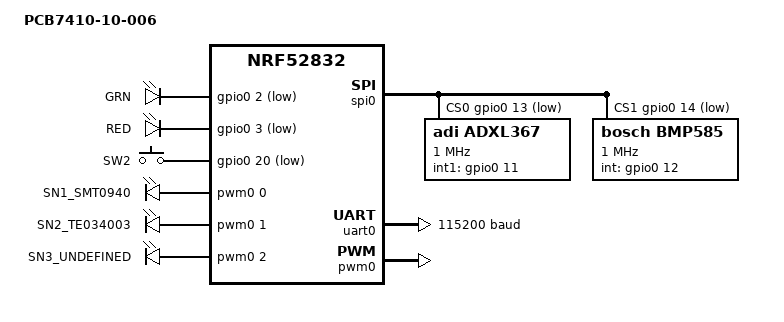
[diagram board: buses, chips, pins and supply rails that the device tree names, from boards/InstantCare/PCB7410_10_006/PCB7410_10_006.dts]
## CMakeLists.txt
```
# SPDX-License-Identifier: Apache-2.0

cmake_minimum_required(VERSION 3.20.0)

list(APPEND ZEPHYR_EXTRA_MODULES
  ${CMAKE_CURRENT_SOURCE_DIR}/drivers
)

find_package(Zephyr REQUIRED HINTS $ENV{ZEPHYR_BASE})
project(7410-10)

target_sources(app PRIVATE
    src/main.c
    src/leds.c
    src/button.c
    src/sounders.c
    src/pressure_sensor.c
    src/accelerometer.c
)

zephyr_library_include_directories(.)
```

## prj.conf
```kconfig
CONFIG_STDOUT_CONSOLE=y
CONFIG_PRINTK=y
CONFIG_LOG=y
CONFIG_LOG_MODE_IMMEDIATE=y
CONFIG_LOG_DEFAULT_LEVEL=3

# Enable Floating Point values
CONFIG_CBPRINTF_FP_SUPPORT=y

# Peripheral Support
CONFIG_SPI=y
CONFIG_SENSOR=y
CONFIG_ADXL367=y
CONFIG_ADXL367_TRIGGER_OWN_THREAD=y
CONFIG_BMP585=y
CONFIG_BMP585_TRIGGER=y

# Free Fall via Inactivity Detection
CONFIG_ADXL367_INACTIVITY_DETECTION_MODE=y
CONFIG_ADXL367_REFERENCED_INACTIVITY_DETECTION_MODE=n
# Time is relative to ODR; with ODR=100Hz, time=10 means 100ms
CONFIG_ADXL367_INACTIVITY_TIME=1
CONFIG_ADXL367_ACTIVITY_DETECTION_MODE=n

# Increase stack size for the main thread and System Workqueue
CONFIG_SYSTEM_WORKQUEUE_STACK_SIZE=2048
CONFIG_MAIN_STACK_SIZE=2048

# Used for debugging SPI issues only
# CONFIG_SPI_LOG_LEVEL_DBG=y

# Enable the Shell subsystem
CONFIG_SHELL=y
CONFIG_SHELL_LOG_BACKEND=y

# Enable UART backend for the shell
CONFIG_SHELL_BACKEND_SERIAL=y

# Optional: Set shell buffer sizes and history
CONFIG_SHELL_CMD_BUFF_SIZE=128
CONFIG_SHELL_HISTORY=y
```

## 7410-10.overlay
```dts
#include <nordic/nrf52840_qiaa.dtsi>

/ {
    chosen {
        zephyr,console = &uart0;
        zephyr,shell-uart = &uart0;
    };

    aliases {
        /* Sounders */
        buzzer0 = &SN1;
        buzzer1 = &SN2;
        buzzer2 = &SN3;

        /* SPI devices */
        spi0 = &spi0;
        accel0 = &adxl367;
        press0 = &bmp585;
    };

    sounders {
        compatible = "gpio-leds";

        SN1: SN1 {
            gpios = <&gpio0 4 GPIO_ACTIVE_HIGH>;
            label = "SN1";
        };

        SN2: SN2 {
            gpios = <&gpio0 5 GPIO_ACTIVE_HIGH>;
            label = "SN2";
        };

        SN3: SN3 {
            gpios = <&gpio0 6 0>;
            label = "SN3";
        };
    };
};

/* GPIO */
&gpio0 {
    status = "okay";
};

&gpiote {
    status = "okay";
};

/* SPI0 + devices */
&spi0 {
    status = "okay";
    pinctrl-0 = <&spi0_default>;
    pinctrl-1 = <&spi0_sleep>;
    pinctrl-names = "default", "sleep";
    cs-gpios = <&gpio0 20 GPIO_ACTIVE_LOW>, <&gpio0 21 GPIO_ACTIVE_LOW>;

    adxl367: adxl367@0 {
        compatible = "adi,adxl367";
        reg = <0>;
        spi-max-frequency = <1000000>;
        int1-gpios = <&gpio0 8 GPIO_ACTIVE_LOW>;
        label = "ADXL367";
    };

    bmp585: bmp585@1 {
        compatible = "bosch,bmp585";
        reg = <1>;
        spi-max-frequency = <1000000>;
        int-gpios = <&gpio0 7 GPIO_ACTIVE_LOW>;
        label = "BMP585";
    };
};

&spi0_default {
    group1 {
        psels = <NRF_PSEL(SPIM_SCK, 0, 17)>,
                <NRF_PSEL(SPIM_MOSI, 0, 18)>,
                <NRF_PSEL(SPIM_MISO, 0, 19)>;
    };
};
```

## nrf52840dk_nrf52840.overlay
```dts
#include <nordic/nrf52840_qiaa.dtsi>

/ {
    chosen {
        zephyr,console = &uart0;
        zephyr,shell-uart = &uart0;
    };

    aliases {
        /* Sounders */
        buzzer0 = &SN1;
        buzzer1 = &SN2;
        buzzer2 = &SN3;

        /* SPI devices */
        spi1 = &spi1;
        accel0 = &adxl367;
        press0 = &bmp585;
    };

    sounders {
        compatible = "gpio-leds";

        SN1: SN1 {
            gpios = <&gpio0 2 0>;
            label = "SN1";
        };

        SN2: SN2 {
            gpios = <&gpio0 3 0>;
            label = "SN2";
        };

        SN3: SN3 {
            gpios = <&gpio0 4 0>;
            label = "SN3";
        };
    };
};

/* GPIO */
&gpio0 {
    status = "okay";
};

&gpiote {
    status = "okay";
};

/* SPI1 + devices */
&spi1 {
    status = "okay";
    pinctrl-0 = <&spi1_default>;
    pinctrl-1 = <&spi1_sleep>;
    pinctrl-names = "default", "sleep";
    cs-gpios = <&gpio0 29 GPIO_ACTIVE_LOW>, <&gpio0 30 GPIO_ACTIVE_LOW>;

    adxl367: adxl367@0 {
        compatible = "adi,adxl367";
        reg = <0>;
        spi-max-frequency = <DT_FREQ_M(2)>;
        label = "ADXL367";
    };

    bmp585: bmp585@1 {
        compatible = "bosch,bmp585";
        reg = <1>;
        spi-max-frequency = <DT_FREQ_M(2)>;
        label = "BMP585";
    };

    max-frequency = <DT_FREQ_M(4)>;
};

&spi1_default {
    group1 {
        psels = <NRF_PSEL(SPIM_MOSI, 0, 27)>,
										<NRF_PSEL(SPIM_MISO, 0, 28)>;
    };

	group2 {
		psels = <NRF_PSEL(SPIM_SCK, 0, 26)>;
		bias-pull-down;
	};
};

&spi1_sleep {
    group1 {
        psels = <NRF_PSEL(SPIM_SCK, 0, 26)>,
                <NRF_PSEL(SPIM_MOSI, 0, 27)>,
                <NRF_PSEL(SPIM_MISO, 0, 28)>;
    };
};


&uart0 {
    status = "okay";
};
```

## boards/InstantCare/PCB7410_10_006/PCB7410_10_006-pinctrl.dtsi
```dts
&pinctrl {
    spi0_default: spi0_default {
        group1 {
            psels = <NRF_PSEL(SPIM_MISO, 0, 17)>,
                    <NRF_PSEL(SPIM_MOSI, 0, 16)>,
                    <NRF_PSEL(SPIM_SCK, 0, 15)>;
        };
    };

    spi0_sleep: spi0_sleep {
        group1 {
            psels = <NRF_PSEL(SPIM_MISO, 0, 17)>,
                    <NRF_PSEL(SPIM_MOSI, 0, 16)>,
                    <NRF_PSEL(SPIM_SCK, 0, 15)>;
            low-power-enable;
        };
    };

    uart0_default: uart0_default {
        group1 {
            psels = <NRF_PSEL(UART_TX, 0, 26)>, <NRF_PSEL(UART_RX, 0, 27)>;
        };
    };

    uart0_sleep: uart0_sleep {
        group1 {
            psels = <NRF_PSEL(UART_TX, 0, 26)>;
        };
    };

    pwm0_default: pwm0_default {
        group1 {
            psels = <NRF_PSEL(PWM_OUT0, 0, 4)>,
                    <NRF_PSEL(PWM_OUT1, 0, 5)>,
                    <NRF_PSEL(PWM_OUT2, 0, 19)>; 
            nordic,invert;
        };
    };

    pwm0_sleep: pwm0_sleep {
        group1 {
            psels = <NRF_PSEL(PWM_OUT0, 0, 4)>,
                    <NRF_PSEL(PWM_OUT1, 0, 5)>,
                    <NRF_PSEL(PWM_OUT2, 0, 19)>;
            low-power-enable;
        };
    };
};
```

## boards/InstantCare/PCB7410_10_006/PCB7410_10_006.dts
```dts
/dts-v1/;
#include <nordic/nrf52832_qfaa.dtsi>
#include "PCB7410_10_006-pinctrl.dtsi"

/ {
	model = "PCB7410-10-006";
	compatible = "InstantCare,PCB7410-10-006";

	chosen {
		zephyr,sram = &sram0;
		zephyr,flash = &flash0;
		zephyr,code-partition = &slot0_partition;
		zephyr_console = &uart0;
		zephyr,shell-uart = &uart0;
	};

	aliases {
		/* LEDs */
		led0 = &grn;
		led1 = &red;

		/* BUTTONS */
		sw0 = &sw2;

		/* Sounders */
		buzzer0 = &pwm_sn1;
		buzzer1 = &pwm_sn2;
		buzzer2 = &pwm_sn3;

		/* UART */
		uart0 = &uart0;

		/* SPI devices */
		spi0 = &spi0;
		accel0 = &adxl367;
		press0 = &bmp585;

	};

	leds {
		compatible = "gpio-leds";
		grn: grn {
			gpios = <&gpio0 2 (GPIO_ACTIVE_LOW)>;
			label = "GRN";
		};

		red: red {
			gpios = <&gpio0 3 (GPIO_ACTIVE_LOW)>;
			label = "RED";
		};
	};

	buttons {
		compatible = "gpio-keys";
		sw2: sw2 {
			label = "SW2";
			gpios = <&gpio0 20 (GPIO_ACTIVE_LOW | GPIO_PULL_UP)>;
		};
	};

	pwm_sounders {
		compatible = "pwm-leds";

		pwm_sn1: pwm_sn_1 {
			pwms = <&pwm0 0 PWM_USEC(250) PWM_POLARITY_NORMAL>;
			label = "SN1_SMT0940";
		};

		pwm_sn2: pwm_sn_2 {
			pwms = <&pwm0 1 20 PWM_POLARITY_NORMAL>;
			label = "SN2_TE034003";
		};

		pwm_sn3: pwm_sn_3 {
			pwms = <&pwm0 2 20 PWM_POLARITY_NORMAL>;
			label = "SN3_UNDEFINED";
		};
	};
};

&flash0 {
	partitions {
		compatible = "fixed-partitions";
		#address-cells = <1>;
		#size-cells = <1>;

		boot_partition: partition@0 {
			label = "mcuboot";
			reg = <0x00000000 DT_SIZE_K(48)>;
		};

		slot0_partition: partition@c000 {
			label = "image-0";
			reg = <0x0000c000 DT_SIZE_K(220)>;
		};

		slot1_partition: partition@43000 {
			label = "image-1";
			reg = <0x00043000 DT_SIZE_K(220)>;
		};

		storage_partition: partition@7a000 {
			label = "storage";
			reg = <0x0007a000 DT_SIZE_K(24)>;
		};
	};
};

&gpio0 {
	status = "okay";
};
&gpiote {
	status = "okay";
};

&spi0 {
	status = "okay";
	pinctrl-0 = <&spi0_default>;
	pinctrl-1 = <&spi0_sleep>;
	pinctrl-names = "default", "sleep";
	cs-gpios = <&gpio0 13 GPIO_ACTIVE_LOW>, <&gpio0 14 GPIO_ACTIVE_LOW>;
	adxl367: adxl367@0 {
		compatible = "adi,adxl367";
		reg = <0x0>;
		spi-max-frequency = <1000000>;
		int1-gpios = <&gpio0 11 GPIO_ACTIVE_HIGH>;
		odr = <3>; /* 100 Hz */
		label = "ADXL367";
	};

	bmp585: bmp585@1 {
		compatible = "bosch,bmp585";
		reg = <0x1>;
		spi-max-frequency = <1000000>;
		label = "BMP585";
		int-gpios = <&gpio0 12 GPIO_ACTIVE_HIGH>;
	};
};

&uart0 {
	status = "okay";
	current-speed = <115200>;
	pinctrl-0 = <&uart0_default>;
	pinctrl-1 = <&uart0_sleep>;
	pinctrl-names = "default", "sleep";
};

&pwm0 {
	status = "okay";
    pinctrl-0 = <&pwm0_default>;
    pinctrl-1 = <&pwm0_sleep>;
    pinctrl-names = "default", "sleep";
};

&uicr {
	gpio-as-nreset;
};
```

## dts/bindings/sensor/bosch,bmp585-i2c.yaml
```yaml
# Copyright (c) 2025, Bosch Sensortec GmbH
# SPDX-License-Identifier: Apache-2.0

description: |
    Bosch BMP5 pressure sensor accessed through I2C bus

compatible: "bosch,bmp585"

include: [i2c-device.yaml, "bosch,bmp585.yaml"]
```

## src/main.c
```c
#include <zephyr/sys/printk.h>
#include <zephyr/logging/log.h>
#include <zephyr/kernel.h>
#include <zephyr/drivers/gpio.h>
#include <zephyr/drivers/sensor.h>
#include <zephyr/shell/shell.h>
#include <zephyr/app_version.h>
#include <stdio.h>

#include "leds.h"
#include "button.h"
#include "sounders.h"
#include "pressure_sensor.h"
#include "accelerometer.h"

LOG_MODULE_REGISTER(main, LOG_LEVEL_INF);

void button_pressed(const struct device *dev, struct gpio_callback *cb, uint32_t pins)
{
	LOG_INF("Button pressed!");
	led_red_toggle();
}

int main(void)
{
	int err = 0;
	err |= leds_init();
	err |= button_init(button_pressed);
	err |= sounders_init();
	err |= pressure_sensor_init();
	err |= accelerometer_init();

	if (err == 0) {
		LOG_INF("All I/O initialized successfully");
	} else {
		LOG_WRN("Some I/O failed to initialize. System may be in a degraded state.");
	}

	led_red_set(0); // Turn off red LED
	led_grn_set(0); // Turn off green LED

	err = data_ready_init();
	err = free_fall_init();

	while (1)
	{
		k_sleep(K_FOREVER);
	}

	return 0;
}
```

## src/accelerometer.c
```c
#include <zephyr/drivers/sensor.h>
#include <zephyr/logging/log.h>
#include <zephyr/shell/shell.h>
#include "accelerometer.h"
#include "leds.h"

LOG_MODULE_REGISTER(accelerometer, LOG_LEVEL_INF);

#define ACCEL_NODE DT_ALIAS(accel0)

static const struct device *accel_dev = DEVICE_DT_GET(ACCEL_NODE);

static void free_fall_handler(const struct device *dev, const struct sensor_trigger *trig)
{
    LOG_INF("!!! Free fall detected !!!");
    led_grn_set(1);
}

const struct device *accelerometer_get_device(void)
{
	return accel_dev;
}

int accelerometer_init(void)
{
	if (!device_is_ready(accelerometer_get_device())) {
		LOG_ERR("Accelerometer device not ready");
		return -ENODEV;
	}

	return 0;
}

// Refer to ADXl367 datasheet for free-fall detection setup
int free_fall_init(void)
{
    struct sensor_value val;

    // Set ODR to 100Hz
    val.val1 = 100;
    val.val2 = 0;
    sensor_attr_set(accelerometer_get_device(), SENSOR_CHAN_ACCEL_XYZ, SENSOR_ATTR_SAMPLING_FREQUENCY, &val);

    struct sensor_value threshold = {
        .val1 = 784, //588
        .val2 = 0,
    };
    sensor_attr_set(accelerometer_get_device(), 
                            SENSOR_CHAN_ACCEL_XYZ, 
                            SENSOR_ATTR_LOWER_THRESH, 
                            &threshold);

    struct sensor_trigger trig = {
        .type = SENSOR_TRIG_THRESHOLD,
        .chan = SENSOR_CHAN_ACCEL_XYZ,
    };

    if (sensor_trigger_set(accelerometer_get_device(), &trig, free_fall_handler) < 0) {
        LOG_ERR("Failed to set free-fall trigger");
        return -EIO;
    }

    return 0;
}


static int cmd_get_accel(const struct shell *sh, size_t argc, char **argv) 
{
    ARG_UNUSED(argc);
    ARG_UNUSED(argv);

    struct sensor_value accel[3];
    
    int err = sensor_sample_fetch(accelerometer_get_device());
    if (err != 0) {
        shell_error(sh, "Sensor fetch failed (err %d)", err);
        return err;
    }

    sensor_channel_get(accelerometer_get_device(), SENSOR_CHAN_ACCEL_XYZ, accel);

    shell_print(sh, "X: %.2f, Y: %.2f, Z: %.2f (m/s^2)\n",
               sensor_value_to_double(&accel[0]),
               sensor_value_to_double(&accel[1]),
               sensor_value_to_double(&accel[2]));
    return 0;
}

static int cmd_accel_freefall(const struct shell *sh, size_t argc, char **argv) 
{
    int err;
    bool enable = shell_strtobool(argv[1], 10, &err);
    if (err < 0) {
        shell_error(sh, "Cannot parse %s. Use 'on' or 'off' to set free fall trigger.", argv[1]);
		return -EINVAL;
    }

    if (enable) {
        free_fall_init();
    } else {
        /* Disable trigger */
        struct sensor_trigger trig = {.type = SENSOR_TRIG_THRESHOLD};
        sensor_trigger_set(accelerometer_get_device(), &trig, NULL);
        shell_print(sh, "Free-fall detection disarmed.");
    }

    return 0;
}

SHELL_STATIC_SUBCMD_SET_CREATE(get_subcmds,
    SHELL_CMD(data, NULL, "Read X, Y, Z axis (Usage: adxl367 get data)", cmd_get_accel),
    SHELL_SUBCMD_SET_END
);

SHELL_STATIC_SUBCMD_SET_CREATE(set_subcmds,
    SHELL_CMD_ARG(freefall, NULL, "Enable/Disable free-fall detection (Usage: adxl367 set freefall <on|off> [thresh_g])", cmd_accel_freefall, 2, 0),
    SHELL_SUBCMD_SET_END
);

SHELL_STATIC_SUBCMD_SET_CREATE(accel_subcmds,
    SHELL_CMD(get, &get_subcmds, "Get ADXL367 values", NULL),
    SHELL_CMD(set, &set_subcmds, "Set ADXL367 values", NULL),
    SHELL_SUBCMD_SET_END
);

SHELL_CMD_REGISTER(adxl367, &accel_subcmds, "ADXL367 sensor control commands", NULL);
```

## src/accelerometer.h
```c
#ifndef ACCELEROMETER_H
#define ACCELEROMETER_H

#include <zephyr/drivers/sensor.h>

/**
 * @brief Get accelerometer device pointer
 * @return Pointer to accelerometer device
 */
const struct device *accelerometer_get_device(void);

/**
 * @brief Initialize accelerometer
 * @return 0 on success, negative errno on failure
 */
int accelerometer_init(void);


/**
 * @brief Turn on free-fall detection
 * @return 0 on success, negative errno on failure
 */
int free_fall_init(void);

#endif /* ACCELEROMETER_H */
```

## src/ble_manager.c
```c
/** @file
 * @brief BLE manager implementation
 */

#include <zephyr/types.h>
#include <stddef.h>
#include <string.h>
#include <errno.h>
#include <zephyr/sys/printk.h>
#include <zephyr/sys/byteorder.h>
#include <zephyr/kernel.h>
#include <zephyr/logging/log.h>

#include <zephyr/bluetooth/bluetooth.h>
#include <zephyr/bluetooth/hci.h>
#include <zephyr/bluetooth/conn.h>
#include <zephyr/bluetooth/uuid.h>
#include <zephyr/bluetooth/gatt.h>

LOG_MODULE_REGISTER(ble_manager, LOG_LEVEL_INF);

#include "ble_manager.h"

/* ---------------------------------------------------------
 *  Device Name Definition
 * --------------------------------------------------------- */
#define DEVICE_NAME CONFIG_BT_DEVICE_NAME
#define DEVICE_NAME_LEN (sizeof(DEVICE_NAME) - 1)

/* ---------------------------------------------------------
 *  Characteristic Storage
 * --------------------------------------------------------- */
static uint8_t accel_cfg = 0x01;
static int16_t accel_xyz[3] = {0};

static uint8_t pressure_cfg = 0x01;
static int16_t pressure_xyz[3] = {0};

static uint8_t button_event = 0;
static uint8_t led1_state = 0;
static uint8_t led2_state = 0;

/* ---------------------------------------------------------
 *  Notification Permit Flags
 * --------------------------------------------------------- */
static bool notify_accel_enabled = false;
static bool notify_pressure_enabled = false;
static bool notify_button_enabled = false;

/* ---------------------------------------------------------
 *  Advertising
 * --------------------------------------------------------- */
const struct bt_le_adv_param *adv_param =
    BT_LE_ADV_PARAM(BT_LE_ADV_OPT_CONN |
                        BT_LE_ADV_OPT_USE_IDENTITY,
                    BT_GAP_ADV_FAST_INT_MIN_2,
                    BT_GAP_ADV_FAST_INT_MAX_2,
                    NULL);

static const struct bt_data ad[] = {
    BT_DATA_BYTES(BT_DATA_FLAGS, (BT_LE_AD_GENERAL | BT_LE_AD_NO_BREDR)),
    BT_DATA(BT_DATA_NAME_COMPLETE, DEVICE_NAME, DEVICE_NAME_LEN),
};

static const struct bt_data sd[] = {
    BT_DATA_BYTES(BT_DATA_UUID128_ALL, BT_UUID_ACCEL_SERVICE_VAL),
};

static struct k_work adv_work;

static void adv_work_handler(struct k_work *work)
{
    int err = bt_le_adv_start(adv_param, ad, ARRAY_SIZE(ad), sd, ARRAY_SIZE(sd));
    if (err)
    {
        LOG_ERR("Advertising failed to start (err %d)", err);
    }
    else
    {
        LOG_INF("Advertising started");
    }
}

static void advertising_start(void)
{
    k_work_submit(&adv_work);
}

/* ---------------------------------------------------------
 *  Connection Callbacks
 * --------------------------------------------------------- */
static void recycled_cb(void)
{
    printk("Connection object available from previous conn. Disconnect is complete!\n");
    k_work_submit(&adv_work);
}

static void on_connected(struct bt_conn *conn, uint8_t err)
{
    if (err)
    {
        printk("Connection failed (err %u)\n", err);
        return;
    }

    printk("Connected\n");
}

static void on_disconnected(struct bt_conn *conn, uint8_t reason)
{
    printk("Disconnected (reason %u)\n", reason);
}

struct bt_conn_cb connection_callbacks = {
    .connected = on_connected,
    .disconnected = on_disconnected,
    .recycled = recycled_cb,
};

/* ---------------------------------------------------------
 *  CCCD Callbacks
 * --------------------------------------------------------- */
static void accel_ccc_handler(const struct bt_gatt_attr *attr, uint16_t value)
{
    notify_accel_enabled = (value == BT_GATT_CCC_NOTIFY);
    LOG_INF("Accel notify: %d", notify_accel_enabled);
}

static void pressure_ccc_handler(const struct bt_gatt_attr *attr, uint16_t value)
{
    notify_pressure_enabled = (value == BT_GATT_CCC_NOTIFY);
    LOG_INF("Pressure notify: %d", notify_pressure_enabled);
}

static void button_ccc_handler(const struct bt_gatt_attr *attr, uint16_t value)
{
    notify_button_enabled = (value == BT_GATT_CCC_NOTIFY);
    LOG_INF("Button notify: %d", notify_button_enabled);
}

/* ---------------------------------------------------------
 *  LED Write Handler
 * --------------------------------------------------------- */
static ssize_t write_led1(struct bt_conn *conn,
                          const struct bt_gatt_attr *attr,
                          const void *buf, uint16_t len,
                          uint16_t offset, uint8_t flags)
{
    if (len != 1)
        return BT_GATT_ERR(BT_ATT_ERR_INVALID_ATTRIBUTE_LEN);
    led1_state = ((uint8_t *)buf)[0];
    LOG_INF("LED1 = %d", led1_state);
    return len;
}

static ssize_t write_led2(struct bt_conn *conn,
                          const struct bt_gatt_attr *attr,
                          const void *buf, uint16_t len,
                          uint16_t offset, uint8_t flags)
{
    if (len != 1)
        return BT_GATT_ERR(BT_ATT_ERR_INVALID_ATTRIBUTE_LEN);
    led2_state = ((uint8_t *)buf)[0];
    LOG_INF("LED2 = %d", led2_state);
    return len;
}

/* ---------------------------------------------------------
 *  GATT Services
 * --------------------------------------------------------- */
BT_GATT_SERVICE_DEFINE(accel_svc,
                       BT_GATT_PRIMARY_SERVICE(BT_UUID_ACCEL_SERVICE),
                       BT_GATT_CHARACTERISTIC(BT_UUID_ACCEL_DATA, BT_GATT_CHRC_NOTIFY | BT_GATT_CHRC_READ,
                                              BT_GATT_PERM_READ, NULL, NULL, accel_xyz),
                       BT_GATT_CCC(accel_ccc_handler, BT_GATT_PERM_READ | BT_GATT_PERM_WRITE),
                       BT_GATT_CHARACTERISTIC(BT_UUID_ACCEL_CFG, BT_GATT_CHRC_READ | BT_GATT_CHRC_WRITE,
                                              BT_GATT_PERM_READ | BT_GATT_PERM_WRITE, NULL, NULL, &accel_cfg), );

BT_GATT_SERVICE_DEFINE(press_svc,
                       BT_GATT_PRIMARY_SERVICE(BT_UUID_PRESS_SERVICE),
                       BT_GATT_CHARACTERISTIC(BT_UUID_PRESS_DATA, BT_GATT_CHRC_NOTIFY | BT_GATT_CHRC_READ,
                                              BT_GATT_PERM_READ, NULL, NULL, pressure_xyz),
                       BT_GATT_CCC(pressure_ccc_handler, BT_GATT_PERM_READ | BT_GATT_PERM_WRITE),
                       BT_GATT_CHARACTERISTIC(BT_UUID_PRESS_CFG, BT_GATT_CHRC_READ | BT_GATT_CHRC_WRITE,
                                              BT_GATT_PERM_READ | BT_GATT_PERM_WRITE, NULL, NULL, &pressure_cfg), );

BT_GATT_SERVICE_DEFINE(button_svc,
                       BT_GATT_PRIMARY_SERVICE(BT_UUID_BUTTON_SERVICE),
                       BT_GATT_CHARACTERISTIC(BT_UUID_BUTTON_EVENT, BT_GATT_CHRC_NOTIFY,
                                              BT_GATT_PERM_NONE, NULL, NULL, &button_event),
                       BT_GATT_CCC(button_ccc_handler, BT_GATT_PERM_READ | BT_GATT_PERM_WRITE), );

BT_GATT_SERVICE_DEFINE(led_svc,
                       BT_GATT_PRIMARY_SERVICE(BT_UUID_LED_SERVICE),
                       BT_GATT_CHARACTERISTIC(BT_UUID_LED1_STATE, BT_GATT_CHRC_READ | BT_GATT_CHRC_WRITE,
                                              BT_GATT_PERM_READ | BT_GATT_PERM_WRITE, NULL, write_led1, &led1_state),
                       BT_GATT_CHARACTERISTIC(BT_UUID_LED2_STATE, BT_GATT_CHRC_READ | BT_GATT_CHRC_WRITE,
                                              BT_GATT_PERM_READ | BT_GATT_PERM_WRITE, NULL, write_led2, &led2_state), );

/* ---------------------------------------------------------
 *  Public API to Send Notifications
 * --------------------------------------------------------- */
void ble_notify_accel(void)
{
    if (notify_accel_enabled)
    {
        bt_gatt_notify(NULL, &accel_svc.attrs[1], accel_xyz, sizeof(accel_xyz));
    }
}

void ble_notify_pressure(void)
{
    if (notify_pressure_enabled)
    {
        bt_gatt_notify(NULL, &press_svc.attrs[1], pressure_xyz, sizeof(pressure_xyz));
    }
}

void ble_notify_button(uint8_t event)
{
    button_event = event;

    if (notify_button_enabled)
    {
        bt_gatt_notify(NULL, &button_svc.attrs[1], &button_event, sizeof(button_event));
    }
}

/* ---------------------------------------------------------
 *  BLE Initialization
 * --------------------------------------------------------- */
int ble_manager_init(void)
{
    int err = bt_enable(NULL);
    if (err)
    {
        LOG_ERR("Bluetooth init failed (err %d)", err);
        return err;
    }
    bt_conn_cb_register(&connection_callbacks);

    LOG_INF("Bluetooth initialized");

    k_work_init(&adv_work, adv_work_handler);
    advertising_start();

    return 0;
}
```

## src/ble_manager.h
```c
#ifndef BLE_MANAGER_H_
#define BLE_MANAGER_H_

/** @file
 * @defgroup ble_manager BLE Manager
 * @brief Header file for the BLE manager module
 */

#ifdef __cplusplus

#endif

#include <zephyr/types.h>

/* Define the 128 bit UUIDs fopr the GATT service and its characteristics */
/** @brief Accelerometer service */
#define BT_UUID_ACCEL_SERVICE_VAL \
    0xFB, 0x34, 0x9B, 0x5F, 0x80, 0x00, 0x00, 0x80, 0x00, 0x00, 0x01, 0x00, 0x78, 0x56, 0x34, 0x12
#define BT_UUID_ACCEL_SERVICE BT_UUID_DECLARE_128(BT_UUID_ACCEL_SERVICE_VAL)
/** @brief Accelerometer Data Characteristic */
#define BT_UUID_ACCEL_DATA BT_UUID_DECLARE_128(0x78, 0x56, 0x34, 0x12, 0x02, 0x00, 0x00, 0x00, 0x80, 0x00, 0x00, 0x80, 0x5F, 0x9B, 0x34, 0xFB)
/** @brief Accelerometer Configuration Characteristic */
#define BT_UUID_ACCEL_CFG BT_UUID_DECLARE_128(0x78, 0x56, 0x34, 0x12, 0x03, 0x00, 0x00, 0x00, 0x80, 0x00, 0x00, 0x80, 0x5F, 0x9B, 0x34, 0xFB)

/** @brief Pressure Sensor service */
#define BT_UUID_PRESS_SERVICE_VAL \
    0xFB, 0x34, 0x9B, 0x5F, 0x80, 0x00, 0x00, 0x80, 0x00, 0x00, 0x10, 0x00, 0x78, 0x56, 0x34, 0x12
#define BT_UUID_PRESS_SERVICE BT_UUID_DECLARE_128(BT_UUID_PRESS_SERVICE_VAL)
/** @brief Pressure Sensor Data Characteristic */
#define BT_UUID_PRESS_DATA BT_UUID_DECLARE_128(0x78, 0x56, 0x34, 0x12, 0x11, 0x00, 0x00, 0x00, 0x80, 0x00, 0x00, 0x80, 0x5F, 0x9B, 0x34, 0xFB)
/** @brief Pressure Sensor Configuration Characteristic */
#define BT_UUID_PRESS_CFG BT_UUID_DECLARE_128(0x78, 0x56, 0x34, 0x12, 0x12, 0x00, 0x00, 0x00, 0x80, 0x00, 0x00, 0x80, 0x5F, 0x9B, 0x34, 0xFB)

/** @brief Button Service */
#define BT_UUID_BUTTON_SERVICE_VAL \
    0xFB, 0x34, 0x9B, 0x5F, 0x80, 0x00, 0x00, 0x80, 0x00, 0x00, 0x20, 0x00, 0x78, 0x56, 0x34, 0x12
#define BT_UUID_BUTTON_SERVICE BT_UUID_DECLARE_128(BT_UUID_BUTTON_SERVICE_VAL)
/** @brief Button Characteristic */
#define BT_UUID_BUTTON_EVENT BT_UUID_DECLARE_128(0x78, 0x56, 0x34, 0x12, 0x21, 0x00, 0x00, 0x00, 0x80, 0x00, 0x00, 0x80, 0x5F, 0x9B, 0x34, 0xFB)

/** @brief LED Service */
#define BT_UUID_LED_SERVICE_VAL \
    0xFB, 0x34, 0x9B, 0x5F, 0x80, 0x00, 0x00, 0x80, 0x00, 0x00, 0x30, 0x00, 0x78, 0x56, 0x34, 0x12
#define BT_UUID_LED_SERVICE BT_UUID_DECLARE_128(BT_UUID_LED_SERVICE_VAL)
/** @brief LED1 Characteristic */
#define BT_UUID_LED1_STATE BT_UUID_DECLARE_128(0x78, 0x56, 0x34, 0x12, 0x31, 0x00, 0x00, 0x00, 0x80, 0x00, 0x00, 0x80, 0x5F, 0x9B, 0x34, 0xFB)
/** @brief LED2 Characteristic */
#define BT_UUID_LED2_STATE BT_UUID_DECLARE_128(0x78, 0x56, 0x34, 0x12, 0x32, 0x00, 0x00, 0x00, 0x80, 0x00, 0x00, 0x80, 0x5F, 0x9B, 0x34, 0xFB)

/** @brief Battery Service */
#define BT_UUID_BATTERY_SERVICE_VAL \
    0x0F, 0x18, 0x00, 0x00, 0x00, 0x00, 0x00, 0x00, 0x00, 0x00, 0x00, 0x00, 0x00, 0x00, 0x00, 0x00
#define BT_UUID_BATTERY_SERVICE BT_UUID_DECLARE_16(0x180F)

/* Define all callbacks used */

/* Intialization Function Prototypes */
/** @brief Initialize the bluetooth service.
 *
 *  This function registers the GATT services and characteristics with the
 *  Bluetooth stack and prepares the device for advertising and connections.
 *
 *  @param[in] None
 *
 *  @return 0 on success, negative error code on failure
 */
int ble_manager_init(void);

#endif /* BLE_MANAGER_H_ */
```

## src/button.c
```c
#include <zephyr/drivers/gpio.h>
#include <zephyr/logging/log.h>
#include <zephyr/shell/shell.h>
#include "button.h"

LOG_MODULE_REGISTER(button, LOG_LEVEL_INF);

#define BUTTON0_NODE DT_ALIAS(sw0)

static const struct gpio_dt_spec button0_spec = GPIO_DT_SPEC_GET_OR(BUTTON0_NODE, gpios, {0});
static struct gpio_callback button_cb_data;

int button_init(button_callback_t callback)
{
	if (!gpio_is_ready_dt(&button0_spec)) {
		LOG_ERR("Button device not ready");
		return -ENODEV;
	}

	gpio_pin_configure_dt(&button0_spec, GPIO_INPUT);
	gpio_pin_interrupt_configure_dt(&button0_spec, GPIO_INT_EDGE_TO_ACTIVE);

	gpio_init_callback(&button_cb_data, callback, BIT(button0_spec.pin));
	gpio_add_callback(button0_spec.port, &button_cb_data);

	return 0;
}

SHELL_CMD_REGISTER(button, NULL, "Not implemented yet (Sorry)", NULL);
```

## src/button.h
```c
#ifndef BUTTON_H
#define BUTTON_H

#include <zephyr/drivers/gpio.h>

/**
 * @brief Button callback function type
 * @param dev GPIO device that triggered the callback
 * @param cb Callback structure
 * @param pins Pin mask that triggered the interrupt
 */
typedef void (*button_callback_t)(const struct device *dev, struct gpio_callback *cb, uint32_t pins);

/**
 * @brief Initialize button GPIO and interrupt
 * @param callback Function to call when button is pressed
 * @return 0 on success, negative errno on failure
 */
int button_init(button_callback_t callback);

#endif /* BUTTON_H */
```

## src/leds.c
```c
#include <zephyr/drivers/gpio.h>
#include <zephyr/logging/log.h>
#include <zephyr/shell/shell.h>
#include <stdlib.h>
#include "leds.h"

LOG_MODULE_REGISTER(leds, LOG_LEVEL_INF);

#define LED_GRN_NODE DT_ALIAS(led0)
#define LED_RED_NODE DT_ALIAS(led1)

static const struct gpio_dt_spec led_grn_spec = GPIO_DT_SPEC_GET(LED_GRN_NODE, gpios);
static const struct gpio_dt_spec led_red_spec = GPIO_DT_SPEC_GET(LED_RED_NODE, gpios);

int leds_init(void)
{
	if (!gpio_is_ready_dt(&led_grn_spec)) {
		LOG_ERR("Green LED device not ready");
		return -ENODEV;
	}
	gpio_pin_configure_dt(&led_grn_spec, GPIO_OUTPUT_ACTIVE);

	if (!gpio_is_ready_dt(&led_red_spec)) {
		LOG_ERR("Red LED device not ready");
		return -ENODEV;
	}
	gpio_pin_configure_dt(&led_red_spec, GPIO_OUTPUT_ACTIVE);

	return 0;
}

int led_grn_toggle(void) {
	return gpio_pin_toggle_dt(&led_grn_spec);
}

int led_grn_set(int value) {
	return gpio_pin_set_dt(&led_grn_spec, value);
}

int led_red_toggle(void) {
	return gpio_pin_toggle_dt(&led_red_spec);
}

int led_red_set(int value) {
	return gpio_pin_set_dt(&led_red_spec, value);
}

static int cmd_toggle_led(const struct shell *sh, size_t argc, char **argv) {
	ARG_UNUSED(argc);

	int err;

	if (strcmp(argv[1], "green") == 0) {
		err = led_grn_toggle();
	} else if (strcmp(argv[1], "red") == 0) {
		err = led_red_toggle();
	} else {
		shell_error(sh, "Unrecognized LED (%s).  Use 'red' or 'green' instead.", argv[1]);
		return -EINVAL;
	}

	if (err < 0) {
		shell_error(sh, "Issue toggling %s LED. Error code: %d", argv[1], err);
		return err;
	}

	shell_print(sh, "%s LED toggled", argv[1]);
	return 0;
}

static int cmd_set_led(const struct shell *sh, size_t argc, char **argv) {
	ARG_UNUSED(argc);

	int err;
	int val = shell_strtobool(argv[2], 10, &err) ? 1 : 0;
	if (err < 0) {
		shell_error(sh, "Cannot parse %s. Use 'on' or 'off' to set LED state.", argv[2]);
		return -EINVAL;
	}

	if (strcmp(argv[1], "green") == 0) {
		err = led_grn_set(val);
	} else if (strcmp(argv[1], "red") == 0) {
		err = led_red_set(val);
	} else {
		shell_error(sh, "Unrecognized LED (%s).  Use 'red' or 'green' instead.", argv[1]);
		return -EINVAL;
	}

	if (err < 0) {
		shell_error(sh, "Issue setting %s LED. Error code: %d", argv[1], err);
		return err;
	}

	shell_print(sh, "%s LED turned %s", argv[1], val ? "ON" : "OFF");
	return 0;
}

/* Register shell commands */
SHELL_STATIC_SUBCMD_SET_CREATE(led_subcmds,
								SHELL_CMD_ARG(toggle, NULL, "Toggle LED (Usage: led toggle <green | red>)", cmd_toggle_led, 2, 0),
								SHELL_CMD_ARG(set, NULL, "Set LED ON/OFF (Usage: led set <green|red> <on|off>)", cmd_set_led, 3, 0),
								SHELL_SUBCMD_SET_END);
SHELL_CMD_REGISTER(led, &led_subcmds, "LED control commands", NULL);
```

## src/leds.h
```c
#ifndef LEDS_H
#define LEDS_H

/**
 * @brief Initialize LED GPIOs
 * @return 0 on success, negative errno on failure
 */
int leds_init(void);

/**
 * @brief Toggle Green LED
 * @return 0 on success, negative errno on failure
 */
int led_grn_toggle(void);

/**
 * @brief Set Green LED state
 * @param value 1 for on, 0 for off
 * @return 0 on success, negative errno on failure
 */
int led_grn_set(int value);

/**
 * @brief Toggle Red LED
 * @return 0 on success, negative errno on failure
 */
int led_red_toggle(void);

/**
 * @brief Set Red LED state
 * @param value 1 for on, 0 for off
 * @return 0 on success, negative errno on failure
 */
int led_red_set(int value);

#endif /* LEDS_H */
```

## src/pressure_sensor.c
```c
#include <zephyr/drivers/sensor.h>
#include <zephyr/logging/log.h>
#include <zephyr/shell/shell.h>
#include <math.h>
#include "pressure_sensor.h"
#include "leds.h"

LOG_MODULE_REGISTER(pressure_sensor, LOG_LEVEL_INF);

#define PRESS_NODE DT_ALIAS(press0)

static const struct device *press_dev = DEVICE_DT_GET(PRESS_NODE);

static struct k_work data_ready_work;

static void data_ready_trigger(const struct device *dev,
			const struct sensor_trigger *trig)
{
	k_work_submit(&data_ready_work);
}

const struct device *pressure_sensor_get_device(void)
{
	return press_dev;
}

static void data_ready_work_handler(struct k_work *work)
{
    static double last_pressure_pa = 0.0;
    static int64_t last_time_ms = 0;
    static bool first = true;
    static bool in_freefall = false;

    struct sensor_value pressure;

    if (sensor_sample_fetch(pressure_sensor_get_device()) != 0) {
        return;
    }

    if (sensor_channel_get(pressure_sensor_get_device(), SENSOR_CHAN_PRESS, &pressure) != 0) {
        return;
    }

    double p = sensor_value_to_double(&pressure);
    int64_t now = k_uptime_get();

    if (first) {
        last_pressure_pa = p;
        last_time_ms = now;
        first = false;
        return;
    }

    double dt = (now - last_time_ms) / 1000.0;
    double dp = p - last_pressure_pa;  // positive when falling
    double dp_dt = dp / dt;

    /*
     * Detection thresholds tuned for ~1 ft free fall
     */
    const double FREEFALL_DPDT = 0.2;   // Pa/sec
    const double END_DPDT      = 0.1;    // Pa/sec

    if (!in_freefall) {
        if (dp_dt > FREEFALL_DPDT) {
            in_freefall = true;
            led_red_set(1);
            printk(">>> FREE FALL DETECTED! dP/dt = %.1f Pa/s <<<\n", dp_dt);
        }
    } else {
        if (dp_dt < END_DPDT) {
            in_freefall = false;
        }
    }

    last_pressure_pa = p;
    last_time_ms = now;
}

int pressure_sensor_init(void)
{
	if (!device_is_ready(press_dev)) {
		LOG_ERR("Pressure sensor device not ready");
		return -ENODEV;
	}

	struct sensor_value pressure_oversampling_rate = { BMP5_OVERSAMPLING_4X, 1 };
	if (sensor_attr_set(pressure_sensor_get_device(), SENSOR_CHAN_PRESS, SENSOR_ATTR_OVERSAMPLING, &pressure_oversampling_rate) != 0) {
		LOG_ERR("Could not set oversampling rate of %d", pressure_oversampling_rate.val1);
		return 0;
	}
	struct sensor_value temperature_oversampling_rate = { BMP5_OVERSAMPLING_1X, 1 };
	if (sensor_attr_set(pressure_sensor_get_device(), SENSOR_CHAN_AMBIENT_TEMP, SENSOR_ATTR_OVERSAMPLING, &temperature_oversampling_rate) != 0) {
		LOG_ERR("Could not set oversampling rate of %d", pressure_oversampling_rate.val1);
		return 0;
	}

	struct sensor_value pressure_odr = { BMP5_ODR_50_HZ, 0 };
	if (sensor_attr_set(pressure_sensor_get_device(), SENSOR_CHAN_AMBIENT_TEMP, SENSOR_ATTR_SAMPLING_FREQUENCY, &pressure_odr) != 0) {
		LOG_ERR("Could not set pressure ODR of %d", pressure_odr.val1);
		return 0;
	}


	struct sensor_value power_mode = { BMP5_POWERMODE_NORMAL, 0 };
	if (sensor_attr_set(pressure_sensor_get_device(), SENSOR_CHAN_PRESS, BMP5_ATTR_POWER_MODE, &power_mode) != 0) {
		LOG_ERR("Could not set power mode");
		return 0;
	}

	return 0;
}

int data_ready_init(void) {
	k_work_init(&data_ready_work, data_ready_work_handler);

	struct sensor_trigger trig;
	trig.type = SENSOR_TRIG_DATA_READY;
	trig.chan = SENSOR_CHAN_PRESS;

	if (sensor_trigger_set(pressure_sensor_get_device(), &trig, data_ready_trigger) != 0) {
		LOG_ERR("Could not set sensor type and channel");
		return 0;
	}
	return 0;
}

static int cmd_set_press_oversampling(const struct shell *sh, size_t argc, char **argv, void *data) {
	ARG_UNUSED(argc);

	struct sensor_value pressure_oversampling_rate = {
		.val1 = (int)data,
		.val2 = 1 // Enable pressure measurements in bmp585.c
	};

	int err = sensor_attr_set(pressure_sensor_get_device(), SENSOR_CHAN_PRESS, SENSOR_ATTR_OVERSAMPLING, &pressure_oversampling_rate);
	if (err < 0) {
		shell_error(sh, "Failed to set pressure OSR (err %d)", err);
		return err;
	}
	
	shell_print(sh, "Pressure OSR set to: %s", argv[0]);
	return 0;
}

SHELL_SUBCMD_DICT_SET_CREATE(sub_set_press_oversampling, cmd_set_press_oversampling,
	(1X,	BMP5_OVERSAMPLING_1X,	"1x oversampling"),
	(2X,	BMP5_OVERSAMPLING_2X, 	"2x oversampling"),
	(4X,   	BMP5_OVERSAMPLING_4X,	"4x oversampling"),
	(8X,   	BMP5_OVERSAMPLING_8X,   "8x oversampling"),
	(16X, 	BMP5_OVERSAMPLING_16X,  "16x oversampling"),
	(32X,  	BMP5_OVERSAMPLING_32X,  "32x oversampling"),
	(64X,  	BMP5_OVERSAMPLING_64X,  "64x oversampling"),
	(128X, 	BMP5_OVERSAMPLING_128X,	"128x oversampling")
);

static int cmd_set_temp_oversampling(const struct shell *sh, size_t argc, char **argv, void *data) {
	ARG_UNUSED(argc);

	struct sensor_value temp_oversampling_rate = {
		.val1 = (int)data,
		.val2 = 0 // unused in bmp585.c
	};

	int err = sensor_attr_set(pressure_sensor_get_device(), SENSOR_CHAN_AMBIENT_TEMP, SENSOR_ATTR_OVERSAMPLING, &temp_oversampling_rate);
	if (err < 0) {
		shell_error(sh, "Failed to set temp OSR (err %d)", err);
		return err;
	}
	
	shell_print(sh, "Temperature OSR set to: %s", argv[0]);
	return 0;
}

SHELL_SUBCMD_DICT_SET_CREATE(sub_set_temp_oversampling, cmd_set_temp_oversampling,
	(1X,	BMP5_OVERSAMPLING_1X,	"1x oversampling"),
	(2X,	BMP5_OVERSAMPLING_2X, 	"2x oversampling"),
	(4X,   	BMP5_OVERSAMPLING_4X,	"4x oversampling"),
	(8X,   	BMP5_OVERSAMPLING_8X,   "8x oversampling"),
	(16X, 	BMP5_OVERSAMPLING_16X,  "16x oversampling"),
	(32X,  	BMP5_OVERSAMPLING_32X,  "32x oversampling"),
	(64X,  	BMP5_OVERSAMPLING_64X,  "64x oversampling"),
	(128X, 	BMP5_OVERSAMPLING_128X,	"128x oversampling")
);

static int cmd_set_odr(const struct shell *sh, size_t argc, char **argv, void *data) {
	ARG_UNUSED(argc);

	struct sensor_value press_odr = {
		.val1 = (int)data,
		.val2 = 0 // Unused in bmp585.c
	};

	int err = sensor_attr_set(pressure_sensor_get_device(), SENSOR_CHAN_ALL, SENSOR_ATTR_SAMPLING_FREQUENCY, &press_odr);
	if (err < 0) {
		shell_error(sh, "Could not set ODR (err %d)", err);
		return err;
	}
	
	shell_print(sh, "ODR set to: %s", argv[0]);
	return 0;
}

SHELL_SUBCMD_DICT_SET_CREATE(sub_set_odr, cmd_set_odr,
	(240HZ,		BMP5_ODR_240_HZ,	"240 Hz"),
	(218HZ,		BMP5_ODR_218_5_HZ,	"218 Hz"),
	(199_1HZ,	BMP5_ODR_199_1_HZ,	"199.1 Hz"),
	(179_2HZ,   BMP5_ODR_179_2_HZ,	"179.2 Hz"),
	(160HZ,  	BMP5_ODR_160_HZ,	"160 Hz"),
	(149_3HZ,  	BMP5_ODR_149_3_HZ,  "149.3Hz"),
	(140HZ,  	BMP5_ODR_140_HZ,  	"140 Hz"),
	(129_8HZ, 	BMP5_ODR_129_8_HZ, 	"129.8 Hz"),
	(120HZ,		BMP5_ODR_120_HZ, 	"120 Hz"),
	(110_1HZ,	BMP5_ODR_110_1_HZ, 	"110.1 Hz"),
	(100_2HZ,   BMP5_ODR_100_2_HZ,  "100.2 Hz"),
	(89_6HZ,   	BMP5_ODR_89_6_HZ,   "89.6 Hz"),
	(80HZ,  	BMP5_ODR_80_HZ,  	"80 Hz"),
	(70HZ,  	BMP5_ODR_70_HZ,  	"70 Hz"),
	(60HZ,  	BMP5_ODR_60_HZ,  	"60 Hz"),
	(50HZ, 		BMP5_ODR_50_HZ, 	"50 Hz"),
	(45HZ,		BMP5_ODR_45_HZ, 	"45 Hz"),
	(40HZ,		BMP5_ODR_40_HZ, 	"40 Hz"),
	(35HZ,   	BMP5_ODR_35_HZ,   	"35 Hz"),
	(30HZ,   	BMP5_ODR_30_HZ,   	"30 Hz"),
	(25HZ,  	BMP5_ODR_25_HZ,  	"25 Hz"),
	(20HZ,  	BMP5_ODR_20_HZ,  	"20 Hz"),
	(15HZ,  	BMP5_ODR_15_HZ,  	"15 Hz"),
	(10HZ, 		BMP5_ODR_10_HZ, 	"10 Hz"),
	(5HZ,		BMP5_ODR_05_HZ, 	"5 Hz"),
	(4HZ,		BMP5_ODR_04_HZ, 	"4 Hz"),
	(3HZ,  		BMP5_ODR_03_HZ,   	"3 Hz"),
	(2HZ,   	BMP5_ODR_02_HZ,   	"2 Hz"),
	(1HZ,  		BMP5_ODR_01_HZ,  	"1 Hz"),
	(0_5HZ,  	BMP5_ODR_0_5_HZ,  	"0.5 Hz"),
	(0_25HZ,  	BMP5_ODR_0_250_HZ,  "0.25 Hz"),
	(0_125HZ, 	BMP5_ODR_0_125_HZ, 	"0.123 Hz")
);

static int cmd_set_powermode(const struct shell *sh, size_t argc, char **argv, void *data) {
	ARG_UNUSED(argc);

	struct sensor_value power_mode = {
		.val1 = (int)data,
		.val2 = 0 // Unused in bmp585.c
	};

	int err = sensor_attr_set(pressure_sensor_get_device(), SENSOR_CHAN_ALL, BMP5_ATTR_POWER_MODE, &power_mode);
	if (err < 0) {
		shell_error(sh, "Power mode change failed (err %d)", err);
		return err;
	}
	
	shell_print(sh, "Power mode set to: %s", argv[0]);
	return 0;
}

SHELL_SUBCMD_DICT_SET_CREATE(sub_set_powermode, cmd_set_powermode,
	(STANDBY,		BMP5_POWERMODE_STANDBY,			"Standby powermode"),
	(NORMAL,		BMP5_POWERMODE_NORMAL, 			"Normal powermode"),
	(FORCED,   		BMP5_POWERMODE_FORCED,   		"Forced powermode"),
	(CONTINUOUS,   	BMP5_POWERMODE_CONTINUOUS,		"Continuous powermode"),
	(DEEP_STANDBY,  BMP5_POWERMODE_DEEP_STANDBY,	"Deep Standby powemode")
);

static int cmd_get_press(const struct shell *sh, size_t argc, char **argv) {
	ARG_UNUSED(argc);
	ARG_UNUSED(argv);

	struct sensor_value pressure;
	int err = sensor_sample_fetch(pressure_sensor_get_device());
	if (err != 0) {
		shell_error(sh, "Sensor fetch failed (err %d)", err);
	}

	err = sensor_channel_get(pressure_sensor_get_device(), SENSOR_CHAN_PRESS, &pressure);
	if (err < 0) {
		shell_error(sh, "Could not get pressure (err %d)", err);
	}
	
	shell_print(sh, "Pressure = %f kPa", sensor_value_to_double(&pressure));
	return 0;
}

static int cmd_get_temp(const struct shell *sh, size_t argc, char **argv) {
	ARG_UNUSED(argc);
	ARG_UNUSED(argv);

	struct sensor_value temperature;
	int err = sensor_sample_fetch(pressure_sensor_get_device());
	if (err != 0) {
		shell_error(sh, "Sensor fetch failed (err %d)", err);
	}

	err = sensor_channel_get(pressure_sensor_get_device(), SENSOR_CHAN_AMBIENT_TEMP, &temperature);
	if (err < 0) {
		shell_error(sh, "Could not get ambient temp (err %d)", err);
	}
	
	shell_print(sh, "Ambient Temperature = %f Cel", sensor_value_to_double(&temperature));
	return 0;
}

SHELL_STATIC_SUBCMD_SET_CREATE(oversample_subcmds,
				SHELL_CMD(pressure, &sub_set_press_oversampling, "Set pressure oversampling rate", NULL),
				SHELL_CMD(temperature, &sub_set_temp_oversampling, "Set temperature oversampling rate", NULL),
				SHELL_SUBCMD_SET_END);

SHELL_STATIC_SUBCMD_SET_CREATE(set_subcmds,
				SHELL_CMD(oversample, &oversample_subcmds, "Set oversampling rates", NULL),
				SHELL_CMD(odr, &sub_set_odr, "Set ODR", NULL),
				SHELL_CMD(powermode, &sub_set_powermode, "Set Power Mode", NULL),
				SHELL_SUBCMD_SET_END);

SHELL_STATIC_SUBCMD_SET_CREATE(get_subcmds,
				SHELL_CMD(pressure, NULL, "Get pressure reading (kPa)", &cmd_get_press),
				SHELL_CMD(temperature, NULL, "Get ambient temperature reading (Celsius)", &cmd_get_temp),
				SHELL_SUBCMD_SET_END);

SHELL_STATIC_SUBCMD_SET_CREATE(press_subcmds,
				SHELL_CMD(get, &get_subcmds, "Get BMP585 values", NULL),
				SHELL_CMD(set, &set_subcmds, "Set BMP585 values", NULL),
				SHELL_SUBCMD_SET_END);
SHELL_CMD_REGISTER(bmp585, &press_subcmds, "BMP585 sensor control commands", NULL);
```

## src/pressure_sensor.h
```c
#ifndef PRESSURE_SENSOR_H
#define PRESSURE_SENSOR_H

#include <zephyr/drivers/sensor.h>
#include <drivers/sensor/bmp585/bmp585.h>

#define BMP5_SEA_LEVEL_PRESSURE_PA                101325
#define VELOCITY_SAMPLES 3


/**
 * @brief Get pressure sensor device pointer
 * @return Pointer to pressure sensor device
 */
const struct device *pressure_sensor_get_device(void);

/**
 * @brief Initialize pressure sensor
 * @return 0 on success, negative errno on failure
 */
int pressure_sensor_init(void);

/**
 * @brief Enable data ready trigger and work handler
 * @return 0 on success, negative errno on failure
 */
int data_ready_init(void);
#endif /* PRESSURE_SENSOR_H */
```

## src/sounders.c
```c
#include <zephyr/drivers/gpio.h>
#include <zephyr/drivers/pwm.h>
#include <zephyr/logging/log.h>
#include <zephyr/shell/shell.h>
#include <stdlib.h>
#include "sounders.h"

LOG_MODULE_REGISTER(sounders, LOG_LEVEL_INF);

/* Buzzer 0 is SMT_0940_T-3V-R - requires PWM at 4kHz */
#define BUZZER0_NODE DT_ALIAS(buzzer0)
/* Buzzer 1 is TE034003-1 - requires PWM at 4kHz */
#define BUZZER1_NODE DT_ALIAS(buzzer1)
/* Buzzer 2 is undefined - Undefined at 4kHz */
#define BUZZER2_NODE DT_ALIAS(buzzer2)

/* Both piezo transducers have 4kHz resonant frequency */
#define PIEZO_FREQUENCY_HZ 4000  /* 4kHz resonant frequency */
#define PIEZO_PERIOD_NS (1000000000UL / PIEZO_FREQUENCY_HZ)  /* ~250000 ns */
#define PIEZO_DEFAULT_DUTY_CYCLE 50  /* 50% duty cycle */

static const struct pwm_dt_spec buzzer0_pwm = PWM_DT_SPEC_GET(BUZZER0_NODE);
static const struct pwm_dt_spec buzzer1_pwm = PWM_DT_SPEC_GET(BUZZER1_NODE);
static const struct pwm_dt_spec buzzer2_pwm = PWM_DT_SPEC_GET(BUZZER2_NODE);

static uint32_t buzzer0_duty_ns = (PIEZO_PERIOD_NS * PIEZO_DEFAULT_DUTY_CYCLE) / 100;
static uint32_t buzzer1_duty_ns = (PIEZO_PERIOD_NS * PIEZO_DEFAULT_DUTY_CYCLE) / 100;
static uint32_t buzzer2_duty_ns = (PIEZO_PERIOD_NS * PIEZO_DEFAULT_DUTY_CYCLE) / 100;


int sounders_init(void)
{
	int ret;

	/* Initialize PWM for buzzer0 (SMT_0940_T-3V-R) */
	if (!pwm_is_ready_dt(&buzzer0_pwm)) {
		LOG_ERR("Buzzer0 PWM device not ready");
		return -ENODEV;
	}
	
	/* Set PWM to 0% duty cycle (off) initially */
	ret = pwm_set_dt(&buzzer0_pwm, PIEZO_PERIOD_NS, 0);
	if (ret < 0) {
		LOG_ERR("Failed to initialize buzzer0 PWM: %d", ret);
		return ret;
	}

	/* Initialize PWM for buzzer1 (TE034003-1) */
	if (!pwm_is_ready_dt(&buzzer1_pwm)) {
		LOG_ERR("Buzzer1 PWM device not ready");
		return -ENODEV;
	}
	
	/* Set PWM to 0% duty cycle (off) initially */
	ret = pwm_set_dt(&buzzer1_pwm, PIEZO_PERIOD_NS, 0);
	if (ret < 0) {
		LOG_ERR("Failed to initialize buzzer1 PWM: %d", ret);
		return ret;
	}

	/* Initialize PWM for buzzer2 (Unknown) */
	if (!pwm_is_ready_dt(&buzzer2_pwm)) {
		LOG_ERR("Buzzer0 PWM device not ready");
		return -ENODEV;
	}
	
	/* Set PWM to 0% duty cycle (off) initially */
	ret = pwm_set_dt(&buzzer2_pwm, PIEZO_PERIOD_NS, 0);
	if (ret < 0) {
		LOG_ERR("Failed to initialize buzzer0 PWM: %d", ret);
		return ret;
	}

	return 0;
}

int buzzer0_set(int enable)
{
	if (enable) {
		/* Start PWM at 4kHz with configured duty cycle */
		return pwm_set_dt(&buzzer0_pwm, PIEZO_PERIOD_NS, buzzer0_duty_ns);
	} else {
		/* Stop PWM (0% duty cycle = silence) */
		return pwm_set_dt(&buzzer0_pwm, PIEZO_PERIOD_NS, 0);
	}
}

int buzzer1_set(int enable)
{
	if (enable) {
		/* Start PWM at 4kHz with configured duty cycle */
		return pwm_set_dt(&buzzer1_pwm, PIEZO_PERIOD_NS, buzzer1_duty_ns);
	} else {
		/* Stop PWM (0% duty cycle = silence) */
		return pwm_set_dt(&buzzer1_pwm, PIEZO_PERIOD_NS, 0);
	}
}

int buzzer2_set(int enable)
{
	if (enable) {
		/* Start PWM at 4kHz with configured duty cycle */
		return pwm_set_dt(&buzzer2_pwm, PIEZO_PERIOD_NS, buzzer2_duty_ns);
	} else {
		/* Stop PWM (0% duty cycle = silence) */
		return pwm_set_dt(&buzzer2_pwm, PIEZO_PERIOD_NS, 0);
	}
}

int buzzer0_set_volume(uint8_t duty_cycle_percent)
{
	if (duty_cycle_percent > 100) {
		duty_cycle_percent = 100;
	}
	
	buzzer0_duty_ns = (PIEZO_PERIOD_NS * duty_cycle_percent) / 100;
	LOG_DBG("Buzzer0 volume set to %d%%", duty_cycle_percent);
	
	/* If buzzer is currently on, update immediately */
	/* Note: This assumes we're tracking state or always updates */
	return 0;
}

int buzzer1_set_volume(uint8_t duty_cycle_percent)
{
	if (duty_cycle_percent > 100) {
		duty_cycle_percent = 100;
	}
	
	buzzer1_duty_ns = (PIEZO_PERIOD_NS * duty_cycle_percent) / 100;
	LOG_DBG("Buzzer1 volume set to %d%%", duty_cycle_percent);
	
	/* If buzzer is currently on, update immediately */
	return 0;
}

int buzzer2_set_volume(uint8_t duty_cycle_percent)
{
	if (duty_cycle_percent > 100) {
		duty_cycle_percent = 100;
	}
	
	buzzer2_duty_ns = (PIEZO_PERIOD_NS * duty_cycle_percent) / 100;
	LOG_DBG("Buzzer2 volume set to %d%%", duty_cycle_percent);
	
	/* If buzzer is currently on, update immediately */
	return 0;
}

static int cmd_set_sounder(const struct shell *sh, size_t argc, char **argv) {
    ARG_UNUSED(argc);

    int err = 0;
    int val = shell_strtobool(argv[2], 10, &err) ? 1 : 0;
    if (err) {
		shell_error(sh, "Cannot parse %s. Use 'on' or 'off' to set SN1 state.", argv[2]);
		return -EINVAL;
	}

    if (strcmp(argv[1], "SN1") == 0) {
        err = buzzer0_set(val);
    } else if (strcmp(argv[1], "SN2") == 0) {
        err = buzzer1_set(val);
    } else if (strcmp(argv[1], "SN3") == 0) {
        err = buzzer2_set(val);
    } else {
        shell_error(sh, "%s is not a valid sounder. Available options are: SN1, SN2, SN3", argv[1]);
        return -EINVAL;
    }

    if (err < 0) {
        shell_error(sh, "Issue setting %s with error: %d", argv[1], err);
		return err;
    }

    shell_print(sh, "%s turned %s", argv[1], val ? "ON" : "OFF");
    return 0;
}

static int cmd_volume_sounder(const struct shell *sh, size_t argc, char **argv) {
    ARG_UNUSED(argc);

    int err;
    int val = atoi(argv[2]);
    if(val < 0 || val > 100) {
        shell_error(sh, "%d is an invalid volume %%. Please use values 0-100 only.", val);
        return -EINVAL;
    }

    if (strcmp(argv[1], "SN1") == 0) {
        err = buzzer0_set_volume((uint8_t)val);
    } else if (strcmp(argv[1], "SN2") == 0) {
        err = buzzer1_set_volume((uint8_t)val);
    } else if (strcmp(argv[1], "SN3") == 0) {
        err = buzzer2_set_volume((uint8_t)val);
    } else {
        shell_error(sh, "%s is not a valid sounder. Available options are: SN1, SN2, SN3", argv[1]);
        return -EINVAL;
    }

    if (err < 0) {
        shell_error(sh, "Issue setting volume for %s with error: %d", argv[1], err);
		return err;
    }

    shell_print(sh, "%s volume set to %d", argv[1], val);
    return 0;
}

/* Register shell commands */
SHELL_STATIC_SUBCMD_SET_CREATE(sounder_subcmds,
								SHELL_CMD_ARG(set, NULL, "Set Sounder ON/OFF(Usage: sounder set <SN1|SN2|SN3> <on|off>)", cmd_set_sounder, 3, 0),
								SHELL_CMD_ARG(volume, NULL, "Set LED ON/OFF (Usage: sounder volume <SN1|SN2|SN3> <0-100>)", cmd_volume_sounder, 3, 0),
								SHELL_SUBCMD_SET_END);

SHELL_CMD_REGISTER(sounder, &sounder_subcmds, "Sounder control commands", NULL);
```

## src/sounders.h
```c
#ifndef SOUNDERS_H
#define SOUNDERS_H

#include <stdint.h>

/**
 * @brief Initialize buzzer/sounder PWM and GPIOs
 * 
 * Initializes:
 * - Buzzer0 (SN1): SMT_0940_T-3V-R with PWM at 4kHz
 * - Buzzer1 (SN2): TE034003-1 with PWM at 4kHz
 * - Buzzer2 (SN3): Unkown sounder (set to 4khz for now)
 * 
 * @return 0 on success, negative errno on failure
 */
int sounders_init(void);

/**
 * @brief Set buzzer 0 state (SMT_0940_T-3V-R with PWM at 4kHz)
 * @param enable 1 to enable (play 4kHz tone), 0 to disable (silence)
 * @return 0 on success, negative errno on failure
 */
int buzzer0_set(int enable);

/**
 * @brief Set buzzer 1 state (TE034003-1 with PWM at 4kHz)
 * @param enable 1 to enable (play 4kHz tone), 0 to disable (silence)
 * @return 0 on success, negative errno on failure
 */
int buzzer1_set(int enable);

/**
 * @brief Set buzzer 2 state (TE034003-1 with PWM at 4kHz)
 * @param enable 1 to enable (play 4kHz tone), 0 to disable (silence)
 * @return 0 on success, negative errno on failure
 */
int buzzer2_set(int value);

/**
 * @brief Set buzzer 0 PWM duty cycle (for volume control)
 * @param duty_cycle_percent Duty cycle percentage (0-100)
 * @return 0 on success, negative errno on failure
 */
int buzzer0_set_volume(uint8_t duty_cycle_percent);

/**
 * @brief Set buzzer 1 PWM duty cycle (for volume control)
 * @param duty_cycle_percent Duty cycle percentage (0-100)
 * @return 0 on success, negative errno on failure
 */
int buzzer1_set_volume(uint8_t duty_cycle_percent);

/**
 * @brief Set buzzer 0 PWM duty cycle (for volume control)
 * @param duty_cycle_percent Duty cycle percentage (0-100)
 * @return 0 on success, negative errno on failure
 */
int buzzer2_set_volume(uint8_t duty_cycle_percent);

#endif /* SOUNDERS_H */
```
